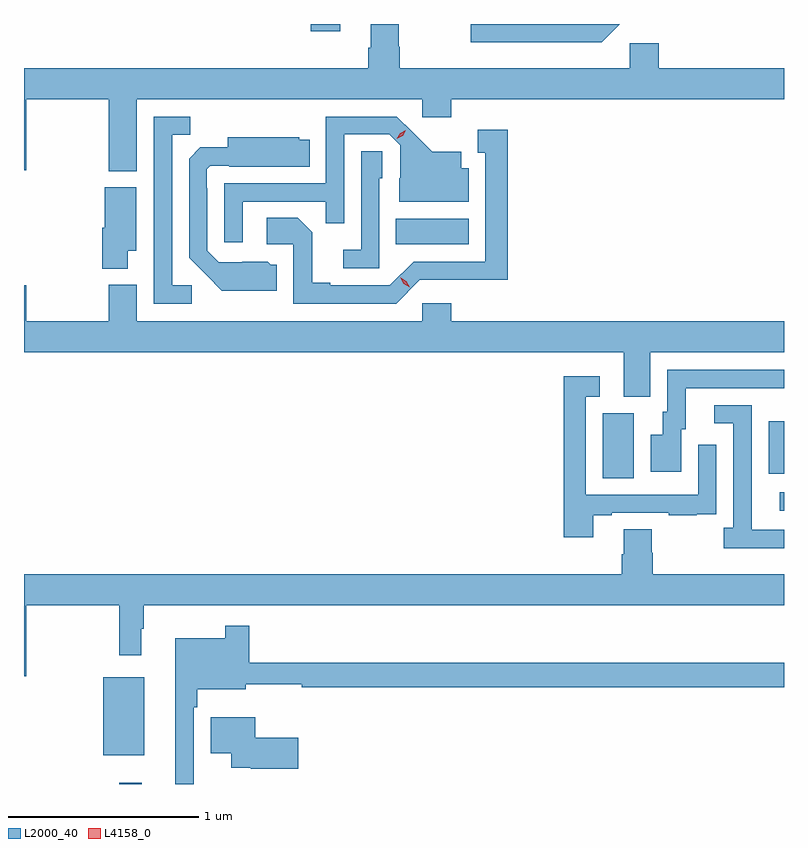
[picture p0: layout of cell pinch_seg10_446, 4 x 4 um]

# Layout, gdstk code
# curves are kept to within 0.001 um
import gdstk
lib = gdstk.Library(unit=1e-6, precision=1e-09)
def R(c, l, rs):  # rectangles x0, y0, x1, y1
    for r in rs: c.add(gdstk.rectangle(r[:2], r[2:], *l))
def P(c, l, *ps):  # polygons
    for p in ps: c.add(gdstk.Polygon(p, *l))
L2000_40 = (2000, 40)
L4158_0 = (4158, 0)

pinch_seg10_446 = lib.new_cell('pinch_seg10_446')
R(pinch_seg10_446, L2000_40, [(321.505,1310.032,321.623,1310.038), (321.422,1310.183,321.637,1310.593), (324.981,1311.471,325.004,1311.567), (324.05,1311.64,324.214,1311.984), (324.923,1311.665,325.004,1311.94), (322.96,1312.874,323.344,1313.008), (322.513,1313.994,322.669,1314.032)])
P(pinch_seg10_446, L2000_40, [(324.14,1314.032),(323.355,1314.032),(323.355,1313.936),(324.044,1313.936)],
  [(321.598,1313.636),(323.1,1313.636),(323.1,1313.541),(323.252,1313.541),(323.252,1313.636),(325.004,1313.636),(325.004,1313.8),(324.344,1313.8),(324.344,1313.932),(324.192,1313.932),(324.192,1313.8),(322.982,1313.8),(322.982,1313.913),(322.977,1313.913),(322.977,1314.032),(322.829,1314.032),(322.829,1313.906),(322.817,1313.906),(322.817,1313.8),(321.004,1313.8),(321.004,1313.262),(321.016,1313.262),(321.016,1313.636),(321.451,1313.636),(321.451,1313.258),(321.598,1313.258)],
  [(322.155,1313.097),(322.591,1313.097),(322.591,1312.984),(322.689,1312.984),(322.689,1313.451),(322.926,1313.451),(322.983,1313.394),(322.983,1313.22),(322.979,1313.22),(322.979,1313.096),(323.344,1313.096),(323.344,1313.272),(323.305,1313.272),(323.305,1313.359),(323.153,1313.359),(322.966,1313.544),(322.593,1313.544),(322.593,1313.193),(322.059,1313.193),(322.059,1312.884),(322.155,1312.884)],
  [(321.886,1312.656),(321.783,1312.656),(321.783,1313.449),(321.879,1313.449),(321.879,1313.544),(321.687,1313.544),(321.687,1312.56),(321.886,1312.56)],
  [(323.088,1312.686),(323.551,1312.685),(323.551,1313.476),(323.393,1313.476),(323.393,1313.355),(323.432,1313.355),(323.432,1312.782),(323.055,1312.782),(322.929,1312.656),(322.615,1312.656),(322.615,1312.669),(322.521,1312.669),(322.521,1312.936),(322.445,1313.012),(322.281,1313.012),(322.281,1312.872),(322.422,1312.872),(322.422,1312.56),(322.962,1312.56)],
  [(322.333,1312.764),(322.302,1312.764),(322.286,1312.78),(322.029,1312.779),(321.969,1312.839),(321.969,1313.168),(321.966,1313.168),(321.966,1313.268),(321.984,1313.286),(322.084,1313.286),(322.084,1313.282),(322.508,1313.282),(322.508,1313.422),(322.452,1313.422),(322.452,1313.437),(322.076,1313.437),(322.076,1313.383),(321.932,1313.383),(321.873,1313.324),(321.873,1312.802),(322.045,1312.628),(322.333,1312.628)],
  [(322.875,1313.22),(322.89,1313.22),(322.89,1313.363),(322.779,1313.363),(322.779,1312.843),(322.683,1312.843),(322.683,1312.746),(322.875,1312.746)],
  [(321.55,1312.838),(321.595,1312.838),(321.595,1313.173),(321.428,1313.173),(321.428,1312.959),(321.416,1312.959),(321.416,1312.745),(321.55,1312.745)],
  [(324.301,1312.304),(325.004,1312.304),(325.004,1312.468),(323.252,1312.468),(323.252,1312.561),(323.1,1312.561),(323.1,1312.468),(321.598,1312.468),(321.598,1312.66),(321.451,1312.66),(321.451,1312.468),(321.016,1312.468),(321.016,1312.657),(321.004,1312.657),(321.004,1312.304),(324.161,1312.304),(324.161,1312.069),(324.301,1312.069)],
  [(324.463,1311.9),(324.487,1311.9),(324.487,1312.116),(325.004,1312.116),(325.004,1312.212),(324.39,1312.212),(324.39,1311.99),(324.365,1311.99),(324.365,1311.871),(324.302,1311.871),(324.302,1311.675),(324.463,1311.675)],
  [(324.001,1311.447),(324.097,1311.447),(324.097,1311.459),(324.397,1311.459),(324.397,1311.447),(324.545,1311.447),(324.545,1311.453),(324.647,1311.453),(324.647,1311.562),(324.648,1311.562),(324.648,1311.817),(324.552,1311.817),(324.552,1311.555),(323.961,1311.555),(323.961,1312.071),(324.034,1312.071),(324.034,1312.177),(323.845,1312.177),(323.845,1311.33),(324.001,1311.33)],
  [(325.004,1311.369),(324.835,1311.369),(324.835,1311.569),(324.834,1311.569),(324.834,1312.026),(324.636,1312.026),(324.636,1311.93),(324.738,1311.93),(324.738,1311.382),(324.687,1311.382),(324.687,1311.272),(325.004,1311.272)],
  [(321.016,1310.972),(321.505,1310.972),(321.505,1310.709),(321.622,1310.709),(321.622,1310.849),(321.634,1310.849),(321.634,1310.972),(325.004,1310.972),(325.004,1311.136),(324.314,1311.136),(324.314,1311.249),(324.309,1311.249),(324.309,1311.374),(324.161,1311.374),(324.161,1311.242),(324.149,1311.242),(324.149,1311.136),(321.004,1311.136),(321.004,1310.598),(321.016,1310.598)],
  [(321.897,1310.435),(321.917,1310.435),(321.917,1310.531),(322.171,1310.531),(322.171,1310.557),(322.467,1310.557),(322.467,1310.542),(325.004,1310.542),(325.004,1310.671),(322.19,1310.671),(322.19,1310.866),(322.062,1310.866),(322.062,1310.8),(321.8,1310.8),(321.8,1310.032),(321.897,1310.032)],
  [(322.447,1310.275),(322.222,1310.275),(322.222,1310.383),(321.986,1310.383),(321.986,1310.195),(322.094,1310.195),(322.094,1310.117),(322.198,1310.117),(322.198,1310.112),(322.447,1310.112)])
P(pinch_seg10_446, L4158_0, [(323.033,1312.646),(323.002,1312.665),(322.985,1312.698),(322.985,1312.698),(322.985,1312.698),(323.016,1312.679),(323.033,1312.646),(323.033,1312.646)],
  [(322.966,1313.427),(322.966,1313.428),(322.983,1313.457),(323.014,1313.472),(323.014,1313.472),(323.014,1313.472),(322.997,1313.443),(322.966,1313.427)])

lib.write_gds('pinch_seg10_446.gds')
